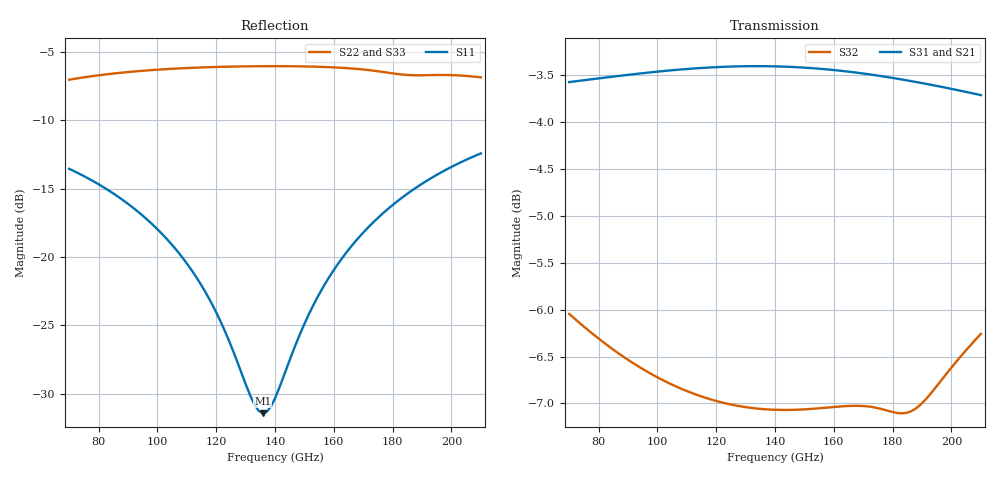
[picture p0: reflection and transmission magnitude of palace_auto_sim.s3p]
#  GHZ S DB R 50
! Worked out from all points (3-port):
!   101 points, 70 GHz to 210 GHz, reference 50 ohm
!   strongest paths, dB at 70 GHz, 105 GHz, 140 GHz, 175 GHz, 210 GHz:
!     S31: -3.6, -3.4, -3.4, -3.5, -3.7
!     S21: -3.6, -3.5, -3.4, -3.5, -3.7
!     S32: -6.0, -6.8, -7.1, -7.0, -6.3
!   lowest |S11| = -31.4 dB at 135.8 GHz (marker M1), VSWR 1.06, Z = 52.7 + j0.103 ohm
!   |S11| at or under -10 dB: start of sweep to end of sweep
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70  -13.54 128.8  -3.58 -44.6  -3.57 -44.6
    -3.58 -44.6  -7.02 48.3  -6.04 -99.2
    -3.57 -44.6  -6.04 -99.2  -7.03 48.3
91  -16.27 111.7  -3.50 -58.5  -3.49 -58.5
    -3.50 -58.5  -6.44 29.2  -6.55 -124.7
    -3.49 -58.5  -6.55 -124.7  -6.45 29.1
107.8  -19.84 94.9  -3.44 -69.7  -3.44 -69.7
       -3.44 -69.7  -6.19 16.2  -6.84 -144.4
       -3.44 -69.7  -6.84 -144.4  -6.20 16.1
119  -23.62 78.4  -3.42 -77.3  -3.41 -77.3
     -3.42 -77.3  -6.09 8.2  -6.96 -157.4
     -3.41 -77.3  -6.96 -157.4  -6.11 8.2
135.8  -31.45 2.1  -3.41 -88.8  -3.40 -88.8
       -3.41 -88.8  -6.03 -3.1  -7.06 -176.8
       -3.40 -88.8  -7.06 -176.8  -6.05 -3.2
140  -30.35 -30.6  -3.41 -91.7  -3.40 -91.7
     -3.41 -91.7  -6.03 -5.9  -7.07 178.3
     -3.40 -91.7  -7.07 178.3  -6.04 -6.0
152.6  -23.71 -77.0  -3.43 -100.3  -3.42 -100.4
       -3.43 -100.3  -6.06 -14.4  -7.06 163.6
       -3.42 -100.4  -7.06 163.6  -6.08 -14.5
166.6  -19.05 -97.2  -3.48 -109.9  -3.47 -109.9
       -3.48 -109.9  -6.20 -24.1  -7.03 146.9
       -3.47 -109.9  -7.03 146.9  -6.22 -24.2
186.2  -15.18 -115.8  -3.57 -123.2  -3.56 -123.2
       -3.57 -123.2  -6.68 -36.7  -7.08 124.9
       -3.56 -123.2  -7.08 124.9  -6.71 -36.8
210  -12.41 -134.4  -3.72 -138.9  -3.71 -139.0
     -3.72 -138.9  -6.85 -56.2  -6.26 97.4
     -3.71 -139.0  -6.26 97.4  -6.88 -56.4
